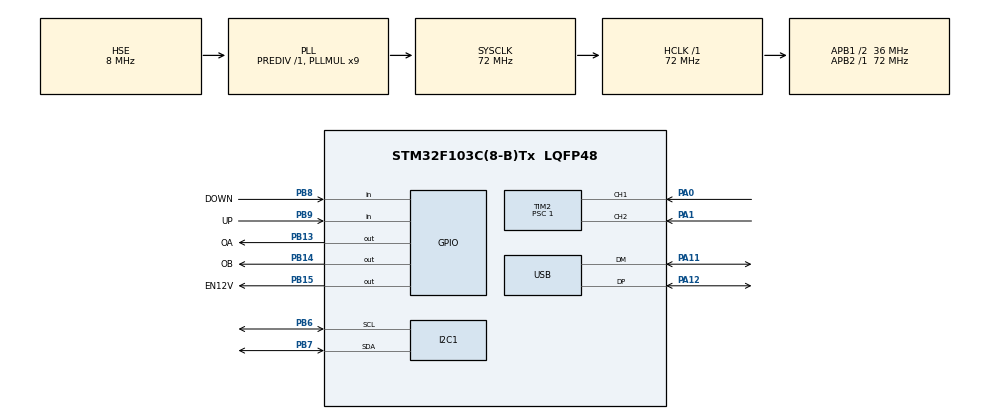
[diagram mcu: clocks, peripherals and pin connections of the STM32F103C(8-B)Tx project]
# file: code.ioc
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Dma.I2C1_TX.0.Direction=DMA_MEMORY_TO_PERIPH
Dma.I2C1_TX.0.Instance=DMA1_Channel6
Dma.I2C1_TX.0.MemDataAlignment=DMA_MDATAALIGN_BYTE
Dma.I2C1_TX.0.MemInc=DMA_MINC_ENABLE
Dma.I2C1_TX.0.Mode=DMA_NORMAL
Dma.I2C1_TX.0.PeriphDataAlignment=DMA_PDATAALIGN_BYTE
Dma.I2C1_TX.0.PeriphInc=DMA_PINC_DISABLE
Dma.I2C1_TX.0.Priority=DMA_PRIORITY_MEDIUM
Dma.Request0=I2C1_TX
FREERTOS.Tasks01=LOGI,0,128,StartTask_LOGI,Default,NULL,Dynamic,NULL,NULL;OLED_DISPLAY,-3,128,StartTask_OLED,Default,NULL,Dynamic,NULL,NULL;USB_CDC,-3,128,StartTask_USB_CDC,Default,NULL,Dynamic,NULL,NULL
Mcu.Family=STM32F1
Mcu.Name=STM32F103C(8-B)Tx
Mcu.Package=LQFP48
NVIC.DMA1_Channel6_IRQn=true\:5\:0\:false\:false\:true\:true\:false\:true\:true
NVIC.PriorityGroup=NVIC_PRIORITYGROUP_4
NVIC.TIM2_IRQn=true\:5\:0\:false\:false\:true\:true\:true\:true\:true
NVIC.USB_LP_CAN1_RX0_IRQn=true\:5\:0\:false\:false\:true\:true\:false\:true\:true
PA0-WKUP.Signal=S_TIM2_CH1_ETR
PA1.Signal=S_TIM2_CH2
PA11.Mode=Device
PA11.Signal=USB_DM
PA12.Mode=Device
PA12.Signal=USB_DP
PA13.Mode=Serial_Wire
PA13.Signal=SYS_JTMS-SWDIO
PA14.Mode=Serial_Wire
PA14.Signal=SYS_JTCK-SWCLK
PB13.GPIO_Label=OA
PB13.GPIO_PuPd=GPIO_PULLUP
PB13.GPIO_Speed=GPIO_SPEED_FREQ_HIGH
PB13.Signal=GPIO_Output
PB14.GPIO_Label=OB
PB14.GPIO_PuPd=GPIO_PULLUP
PB14.GPIO_Speed=GPIO_SPEED_FREQ_HIGH
PB14.Signal=GPIO_Output
PB15.GPIO_Label=EN12V
PB15.GPIO_PuPd=GPIO_PULLUP
PB15.GPIO_Speed=GPIO_SPEED_FREQ_HIGH
PB15.Signal=GPIO_Output
PB6.Mode=I2C
PB6.Signal=I2C1_SCL
PB7.Mode=I2C
PB7.Signal=I2C1_SDA
PB8.GPIO_Label=DOWN
PB8.GPIO_PuPd=GPIO_PULLUP
PB8.Signal=GPIO_Input
PB9.GPIO_Label=UP
PB9.GPIO_PuPd=GPIO_PULLUP
PB9.Signal=GPIO_Input
PD0-OSC_IN.Mode=HSE-External-Oscillator
PD0-OSC_IN.Signal=RCC_OSC_IN
PD1-OSC_OUT.Mode=HSE-External-Oscillator
PD1-OSC_OUT.Signal=RCC_OSC_OUT
ProjectManager.HeapSize=0x200
ProjectManager.StackSize=0x400
ProjectManager.TargetToolchain=MDK-ARM V5.32
RCC.AHBFreq_Value=72000000
RCC.APB1CLKDivider=RCC_HCLK_DIV2
RCC.APB1Freq_Value=36000000
RCC.APB1TimFreq_Value=72000000
RCC.APB2Freq_Value=72000000
RCC.APB2TimFreq_Value=72000000
RCC.HCLKFreq_Value=72000000
RCC.PLLMUL=RCC_PLL_MUL9
RCC.SYSCLKFreq_VALUE=72000000
RCC.SYSCLKSource=RCC_SYSCLKSOURCE_PLLCLK
RCC.USBFreq_Value=48000000
RCC.USBPrescaler=RCC_USBCLKSOURCE_PLL_DIV1_5
SH.S_TIM2_CH1_ETR.0=TIM2_CH1,Encoder_Interface
SH.S_TIM2_CH2.0=TIM2_CH2,Encoder_Interface
TIM2.AutoReloadPreload=TIM_AUTORELOAD_PRELOAD_ENABLE
TIM2.EncoderMode=TIM_ENCODERMODE_TI12
TIM2.IC1Filter=7
TIM2.IC2Filter=7
TIM2.Period=4200
TIM2.Prescaler=1
TIM2.TIM_MasterOutputTrigger=TIM_TRGO_UPDATE
USB_DEVICE.CLASS_NAME_FS=CDC
USB_DEVICE.VirtualMode=Cdc
USB_DEVICE.VirtualModeFS=Cdc_FS
VP_FREERTOS_VS_CMSIS_V1.Mode=CMSIS_V1
VP_USB_DEVICE_VS_USB_DEVICE_CDC_FS.Mode=CDC_FS
board=custom

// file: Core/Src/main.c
/* USER CODE BEGIN Header */
/**
  ******************************************************************************
  * @file           : main.c
  * @brief          : Main program body
  ******************************************************************************
  * @attention
  *
  * Copyright (c) 2026 STMicroelectronics.
  * All rights reserved.
  *
  * This software is licensed under terms that can be found in the LICENSE file
  * in the root directory of this software component.
  * If no LICENSE file comes with this software, it is provided AS-IS.
  *
  ******************************************************************************
  */
/* USER CODE END Header */
#include "main.h"
#include "cmsis_os.h"
#include "dma.h"
#include "i2c.h"
#include "tim.h"
#include "usb_device.h"
#include "gpio.h"

/* USER CODE BEGIN Includes */
#include "../../APP/OLED.h"
/* USER CODE END Includes */

void SystemClock_Config(void);
void MX_FREERTOS_Init(void);

int main(void)
{

  /* MCU Configuration--------------------------------------------------------*/

  /* Reset of all peripherals, Initializes the Flash interface and the Systick. */
  HAL_Init();

  /* Configure the system clock */
  SystemClock_Config();

  /* Initialize all configured peripherals */
  MX_GPIO_Init();
  MX_DMA_Init();
  MX_TIM2_Init();
  MX_I2C1_Init();
  /* USER CODE BEGIN 2 */
	HAL_TIM_Encoder_Start(&htim2, TIM_CHANNEL_ALL);
	__HAL_TIM_ENABLE_IT(&htim2, TIM_IT_UPDATE);
  /* USER CODE END 2 */

  /* Call init function for freertos objects (in freertos.c) */
  MX_FREERTOS_Init();

  /* Start scheduler */
  osKernelStart();

  /* We should never get here as control is now taken by the scheduler */
  /* Infinite loop */
  while (1)
  {

    /* USER CODE BEGIN 3 */
      HAL_Delay(50);
  }
  /* USER CODE END 3 */
}

void SystemClock_Config(void)
{
  RCC_OscInitTypeDef RCC_OscInitStruct = {0};
  RCC_ClkInitTypeDef RCC_ClkInitStruct = {0};
  RCC_PeriphCLKInitTypeDef PeriphClkInit = {0};

  /** Initializes the RCC Oscillators according to the specified parameters
  * in the RCC_OscInitTypeDef structure.
  */
  RCC_OscInitStruct.OscillatorType = RCC_OSCILLATORTYPE_HSE;
  RCC_OscInitStruct.HSEState = RCC_HSE_ON;
  RCC_OscInitStruct.HSEPredivValue = RCC_HSE_PREDIV_DIV1;
  RCC_OscInitStruct.HSIState = RCC_HSI_ON;
  RCC_OscInitStruct.PLL.PLLState = RCC_PLL_ON;
  RCC_OscInitStruct.PLL.PLLSource = RCC_PLLSOURCE_HSE;
  RCC_OscInitStruct.PLL.PLLMUL = RCC_PLL_MUL9;
  if (HAL_RCC_OscConfig(&RCC_OscInitStruct) != HAL_OK)
  {
    Error_Handler();
  }

  /** Initializes the CPU, AHB and APB buses clocks
  */
  RCC_ClkInitStruct.ClockType = RCC_CLOCKTYPE_HCLK|RCC_CLOCKTYPE_SYSCLK
                              |RCC_CLOCKTYPE_PCLK1|RCC_CLOCKTYPE_PCLK2;
  RCC_ClkInitStruct.SYSCLKSource = RCC_SYSCLKSOURCE_PLLCLK;
  RCC_ClkInitStruct.AHBCLKDivider = RCC_SYSCLK_DIV1;
  RCC_ClkInitStruct.APB1CLKDivider = RCC_HCLK_DIV2;
  RCC_ClkInitStruct.APB2CLKDivider = RCC_HCLK_DIV1;

  if (HAL_RCC_ClockConfig(&RCC_ClkInitStruct, FLASH_LATENCY_2) != HAL_OK)
  {
    Error_Handler();
  }
  PeriphClkInit.PeriphClockSelection = RCC_PERIPHCLK_USB;
  PeriphClkInit.UsbClockSelection = RCC_USBCLKSOURCE_PLL_DIV1_5;
  if (HAL_RCCEx_PeriphCLKConfig(&PeriphClkInit) != HAL_OK)
  {
    Error_Handler();
  }
}

void Error_Handler(void)
{
  __disable_irq();
  while (1)
  {
  }
}

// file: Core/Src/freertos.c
/* USER CODE BEGIN Header */
/**
  ******************************************************************************
  * File Name          : freertos.c
  * Description        : Code for freertos applications
  ******************************************************************************
  * @attention
  *
  * Copyright (c) 2026 STMicroelectronics.
  * All rights reserved.
  *
  * This software is licensed under terms that can be found in the LICENSE file
  * in the root directory of this software component.
  * If no LICENSE file comes with this software, it is provided AS-IS.
  *
  ******************************************************************************
  */
/* USER CODE END Header */

#include "FreeRTOS.h"
#include "task.h"
#include "main.h"
#include "cmsis_os.h"

/* USER CODE BEGIN Includes */
#include "OLED.h"
#include "tim.h"
#include "usbd_cdc_if.h"
#include "AT24C16.h"

/* USER CODE END Includes */

osThreadId LOGIHandle;
osThreadId OLED_DISPLAYHandle;
osThreadId USB_CDCHandle;

void StartTask_LOGI(void const * argument);
void StartTask_OLED(void const * argument);
void StartTask_USB_CDC(void const * argument);

extern void MX_USB_DEVICE_Init(void);
void MX_FREERTOS_Init(void); /* (MISRA C 2004 rule 8.1) */

/* GetIdleTaskMemory prototype (linked to static allocation support) */
void vApplicationGetIdleTaskMemory( StaticTask_t **ppxIdleTaskTCBBuffer, StackType_t **ppxIdleTaskStackBuffer, uint32_t *pulIdleTaskStackSize );

/* USER CODE BEGIN GET_IDLE_TASK_MEMORY */
static StaticTask_t xIdleTaskTCBBuffer;
static StackType_t xIdleStack[configMINIMAL_STACK_SIZE];

void vApplicationGetIdleTaskMemory( StaticTask_t **ppxIdleTaskTCBBuffer, StackType_t **ppxIdleTaskStackBuffer, uint32_t *pulIdleTaskStackSize )
{
  *ppxIdleTaskTCBBuffer = &xIdleTaskTCBBuffer;
  *ppxIdleTaskStackBuffer = &xIdleStack[0];
  *pulIdleTaskStackSize = configMINIMAL_STACK_SIZE;
  /* place for user code */
}
/* USER CODE END GET_IDLE_TASK_MEMORY */

void MX_FREERTOS_Init(void) {

  /* Create the thread(s) */
  /* definition and creation of LOGI */
  osThreadDef(LOGI, StartTask_LOGI, osPriorityNormal, 0, 128);
  LOGIHandle = osThreadCreate(osThread(LOGI), NULL);

  /* definition and creation of OLED_DISPLAY */
  osThreadDef(OLED_DISPLAY, StartTask_OLED, osPriorityIdle, 0, 128);
  OLED_DISPLAYHandle = osThreadCreate(osThread(OLED_DISPLAY), NULL);

  /* definition and creation of USB_CDC */
  osThreadDef(USB_CDC, StartTask_USB_CDC, osPriorityIdle, 0, 128);
  USB_CDCHandle = osThreadCreate(osThread(USB_CDC), NULL);

}

void StartTask_LOGI(void const * argument)
{
  /* init code for USB_DEVICE */
  MX_USB_DEVICE_Init();
  /* USER CODE BEGIN StartTask_LOGI */
	HAL_GPIO_WritePin(EN12V_GPIO_Port,EN12V_Pin,GPIO_PIN_SET);
  /* Infinite loop */
  for(;;)
  {
    osDelay(1);
		if((HAL_GPIO_ReadPin(UP_GPIO_Port,UP_Pin)==GPIO_PIN_RESET)&&
			(HAL_GPIO_ReadPin(DOWN_GPIO_Port,DOWN_Pin)==GPIO_PIN_SET))
		{
			HAL_GPIO_WritePin(OA_GPIO_Port,OA_Pin,GPIO_PIN_SET);
			HAL_GPIO_WritePin(OB_GPIO_Port,OB_Pin,GPIO_PIN_RESET);
		}
		else if((HAL_GPIO_ReadPin(DOWN_GPIO_Port,DOWN_Pin)==GPIO_PIN_RESET)&&
			(HAL_GPIO_ReadPin(UP_GPIO_Port,UP_Pin)==GPIO_PIN_SET))
		{
			HAL_GPIO_WritePin(OA_GPIO_Port,OA_Pin,GPIO_PIN_RESET);
			HAL_GPIO_WritePin(OB_GPIO_Port,OB_Pin,GPIO_PIN_SET);
		}
		else if((HAL_GPIO_ReadPin(DOWN_GPIO_Port,DOWN_Pin)==GPIO_PIN_RESET)&&
			(HAL_GPIO_ReadPin(UP_GPIO_Port,UP_Pin)==GPIO_PIN_RESET))
		{
			HAL_GPIO_WritePin(OA_GPIO_Port,OA_Pin,GPIO_PIN_RESET);
			HAL_GPIO_WritePin(OB_GPIO_Port,OB_Pin,GPIO_PIN_RESET);
			clear_Encoder();
			while(!((HAL_GPIO_ReadPin(DOWN_GPIO_Port,DOWN_Pin)==GPIO_PIN_RESET)&&
			(HAL_GPIO_ReadPin(UP_GPIO_Port,UP_Pin)==GPIO_PIN_RESET)))
			{
				osDelay(100);
			}
			osDelay(200);
			clear_Encoder();
		}
		else
		{
			HAL_GPIO_WritePin(OA_GPIO_Port,OA_Pin,GPIO_PIN_RESET);
			HAL_GPIO_WritePin(OB_GPIO_Port,OB_Pin,GPIO_PIN_RESET);
		}
  }
  /* USER CODE END StartTask_LOGI */
}

void StartTask_OLED(void const * argument)
{
  /* USER CODE BEGIN StartTask_OLED */

	osDelay(10);
  OLED_Init();
	OLED_Fill(0xff);
	OLED_Fill(0x00);
	clear_Encoder();
	AT24C16_IsReady();
	if(!Formula_Load())
	{
		Formula_ResetDefault();
	}
	set_Equation_a(get_Formula_a());
	set_Equation_b(get_Formula_b());
	set_Equation_c(get_Formula_c());
	char str[15];
	sprintf(str,(char*)"Encoder :%5d",htim2.Instance->CNT);
	OLED_ShowStr(0,0,str,2);
	sprintf(str,(char*)"Rounds  :%5.0lf",get_Encoder());
	OLED_ShowStr(0,2,str,2);
	get_Equation(str);
	OLED_ShowStr(0,4,str,2);
	sprintf(str,(char*)"Distance:%7.1lf",get_Distance());
	OLED_ShowStr(0,6,str,2);
  /* Infinite loop */
  for(;;)
  {
		sprintf(str,(char*)"%5d",htim2.Instance->CNT);
		OLED_ShowStr(72,0,str,2);
		sprintf(str,(char*)"%5.0lf",get_Encoder());
		OLED_ShowStr(72,2,str,2);
		if(get_Equation(str))
		{
			OLED_ShowStr(0,4,str,2);
			uint8_t l=strlen(str);
			CDC_Transmit_FS((uint8_t*)str,l);
			Formula_Save();
		}
		sprintf(str,(char*)"%7.1lf",get_Distance());
		OLED_ShowStr(72,6,str,2);
    osDelay(200);
  }
  /* USER CODE END StartTask_OLED */
}

void StartTask_USB_CDC(void const * argument)
{
  /* USER CODE BEGIN StartTask_USB_CDC */
	uint8_t str[5]="123";
  /* Infinite loop */
  for(;;)
  {
    osDelay(1000);
		//CDC_Transmit_FS(str,3);
  }
  /* USER CODE END StartTask_USB_CDC */
}
